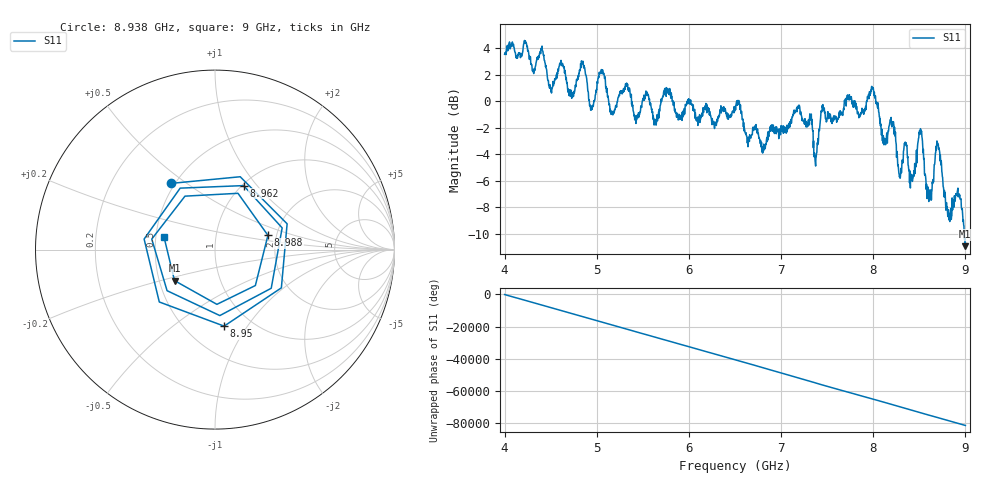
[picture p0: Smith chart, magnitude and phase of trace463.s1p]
! Created with skrf 1.8.0 (http://scikit-rf.org).
# Hz S RI R 50.0
!freq ReS11 ImS11
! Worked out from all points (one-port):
!   1601 points, 4 GHz to 9 GHz, reference 50 ohm
!   lowest |S11| = -10.9 dB at 8.997 GHz (marker M1), VSWR 1.79, Z = 30 - j11.3 ohm
!   |S11| at or under -10 dB: 8.986655 GHz to end of sweep
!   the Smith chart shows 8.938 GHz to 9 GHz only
!   S11 on the Smith chart (normalised r, x): 8.938 GHz: 0.48, +0.44; 8.95 GHz: 0.75, -0.79; 8.962 GHz: 1.02, +0.86; 8.988 GHz: 1.80, +0.32; 9 GHz: 0.55, +0.08
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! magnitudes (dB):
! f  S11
! 4 GHz  3.5
! 4.625 GHz  2.7
! 4.725 GHz  0.5
! 4.85 GHz  3.0
! 4.941 GHz  -0.7
! 5.05 GHz  2.4
! 5.25 GHz  0.7
! 5.875 GHz  -0.9
! 6.5 GHz  -0.5
! 6.806 GHz  -3.4
! 7.125 GHz  -1.2
! 7.375 GHz  -4.9
! 7.453 GHz  -0.3
! 7.75 GHz  0.3
! 8 GHz  1.0
! 8.112 GHz  -2.9
! 8.375 GHz  -4.2
! 8.428 GHz  -5.9
! 8.509 GHz  -2.4
! 8.606 GHz  -7.1
! 8.697 GHz  -3.2
! 8.812 GHz  -8.5
! 8.938 GHz  -7.1
! 8.95 GHz  -7.3
! 8.962 GHz  -8.2
! 8.988 GHz  -10.3
! 8.997 GHz  -10.9
! 9 GHz  -10.7
